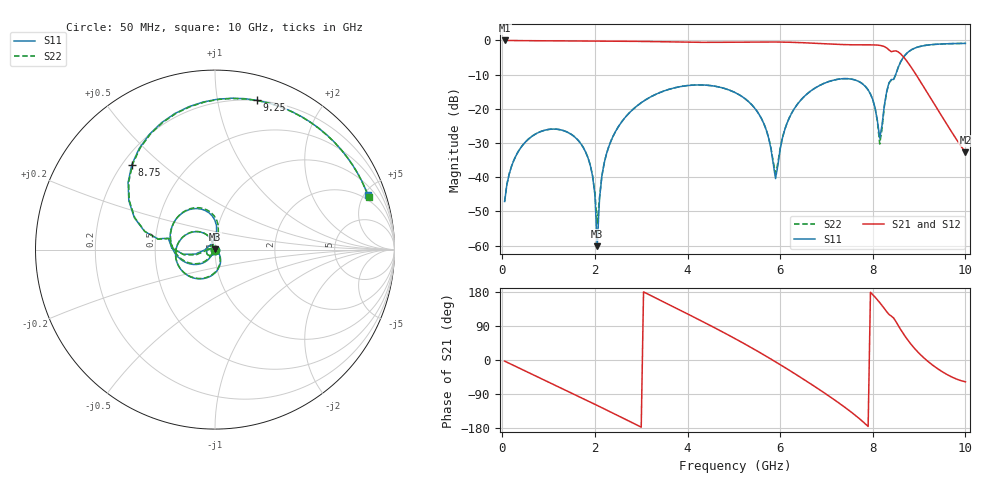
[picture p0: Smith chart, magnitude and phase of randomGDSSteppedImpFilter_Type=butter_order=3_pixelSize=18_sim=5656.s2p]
! freq	dB(S11)	phase(S11)	dB(S12)	phase(S12)
!  dB(S21)	phase(S21)	dB(S22)	phase(S22)
!S-par simulation data
#  GHz  S  DB  R 50
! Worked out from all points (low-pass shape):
!   200 points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, 50 MHz to 10 GHz, reference 50 ohm
!   highest |S21| = -0.02 dB at 50 MHz (marker M1); lowest = -32.7 dB at 10 GHz (marker M2)
!   |S21| within 3 dB of the highest: start of sweep to 8.372 GHz
!   lowest |S11| = -60.2 dB at 2.05 GHz (marker M3), VSWR 1.00, Z = 50.1 + j0.075 ohm
!   |S11| at or under -10 dB: start of sweep to 8.493 GHz
!   |S22| runs from -53.6 to -0.9 dB; largest |S21 - S12| = 0
!   S11 on the Smith chart (normalised r, x): 50 MHz: 1.00, -0.01; 8.75 GHz: 0.24, +0.40; 9.25 GHz: 0.20, +1.30; 10 GHz: 1.61, +5.34
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0.05  -47.12 -57.0  -0.02 -2.9  -0.02 -2.9  -47.12 -57.0
0.25  -35.04 -92.8  -0.06 -14.6  -0.06 -14.6  -35.03 -92.7
0.65  -27.96 -123.8  -0.09 -37.9  -0.09 -37.9  -27.95 -123.5
1.75  -31.35 168.2  -0.15 -102.1  -0.15 -102.1  -31.31 171.5
1.95  -39.73 155.2  -0.16 -114.0  -0.16 -114.0  -39.54 165.4
2.05  -60.17 49.8  -0.17 -119.9  -0.17 -119.9  -53.59 -129.8
2.15  -39.69 -33.6  -0.18 -125.9  -0.18 -125.9  -39.64 -45.8
2.35  -29.30 -46.8  -0.19 -137.9  -0.19 -137.9  -29.31 -51.0
3.4  -15.26 -111.1  -0.41 158.4  -0.41 158.4  -15.27 -112.3
4.25  -13.02 -162.8  -0.57 106.1  -0.57 106.1  -13.02 -163.7
5.05  -15.42 146.9  -0.52 54.8  -0.52 54.8  -15.42 146.3
5.65  -24.43 110.9  -0.45 13.4  -0.45 13.4  -24.39 111.4
5.9  -40.42 170.0  -0.47 -4.8  -0.47 -4.8  -38.86 169.5
6.15  -24.16 -123.2  -0.53 -23.5  -0.53 -23.5  -24.11 -126.4
6.7  -14.42 -160.8  -0.81 -66.2  -0.81 -66.2  -14.40 -162.9
7.8  -12.95 104.2  -1.31 -164.2  -1.31 -164.2  -12.93 101.5
8.05  -19.72 84.9  -1.34 165.8  -1.34 165.8  -19.78 79.6
8.15  -28.59 124.9  -1.46 151.6  -1.46 151.6  -30.32 116.6
8.35  -12.38 178.1  -2.79 120.3  -2.79 120.3  -12.52 178.6
8.75  -3.58 134.5  -6.32 53.6  -6.32 53.6  -3.60 134.0
9.25  -1.27 74.2  -16.89 -9.5  -16.89 -9.5  -1.27 73.5
10  -0.87 19.5  -32.71 -57.6  -32.71 -57.6  -0.87 18.8
